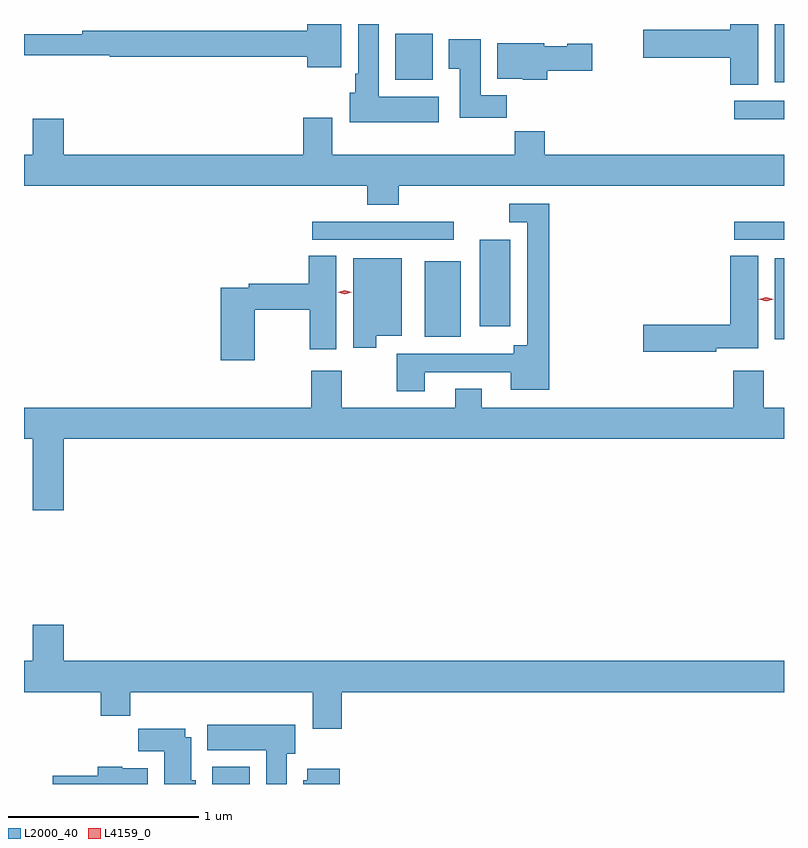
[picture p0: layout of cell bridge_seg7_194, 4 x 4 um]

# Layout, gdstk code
import gdstk
lib = gdstk.Library(unit=1e-6, precision=1e-09)
def R(c, l, rs):  # rectangles x0, y0, x1, y1
    for r in rs: c.add(gdstk.rectangle(r[:2], r[2:], *l))
def P(c, l, *ps):  # polygons
    for p in ps: c.add(gdstk.Polygon(p, *l))
L2000_40 = (2000, 40)
L4159_0 = (4159, 0)

bridge_seg7_194 = lib.new_cell('bridge_seg7_194')
R(bridge_seg7_194, L2000_40, [(393.725,1005.46,393.922,1005.55), (396.686,1007.801,396.734,1008.226), (394.844,1007.813,395.032,1008.211), (395.132,1007.868,395.293,1008.325), (394.251,1008.324,394.996,1008.42), (396.471,1008.324,396.734,1008.42), (396.471,1008.96,396.734,1009.056), (396.686,1009.154,396.734,1009.46), (394.688,1009.166,394.885,1009.408)])
P(bridge_seg7_194, L2000_40, [(396.598,1009.46),(396.452,1009.46),(396.452,1009.43),(395.994,1009.43),(395.994,1009.283),(396.452,1009.283),(396.452,1009.141),(396.598,1009.141)],
  [(394.918,1009.078),(394.6,1009.078),(394.6,1009.46),(394.493,1009.46),(394.493,1009.198),(394.478,1009.198),(394.478,1009.098),(394.448,1009.098),(394.448,1008.944),(394.918,1008.944)],
  [(394.405,1009.46),(394.226,1009.46),(394.226,1009.424),(393.04,1009.424),(393.04,1009.405),(392.734,1009.405),(392.734,1009.296),(393.186,1009.296),(393.186,1009.288),(394.226,1009.288),(394.226,1009.232),(394.405,1009.232)],
  [(395.276,1009.084),(395.137,1009.084),(395.137,1009.381),(394.97,1009.381),(394.97,1009.225),(395.027,1009.225),(395.027,1008.966),(395.276,1008.966)],
  [(395.489,1009.213),(395.725,1009.213),(395.725,1009.355),(395.592,1009.355),(395.592,1009.342),(395.472,1009.342),(395.472,1009.36),(395.225,1009.36),(395.225,1009.172),(395.358,1009.172),(395.358,1009.166),(395.489,1009.166)],
  [(394.706,1008.608),(396.734,1008.608),(396.734,1008.772),(395.474,1008.772),(395.474,1008.896),(395.317,1008.896),(395.317,1008.772),(394.357,1008.772),(394.357,1008.967),(394.205,1008.967),(394.205,1008.772),(392.944,1008.772),(392.944,1008.961),(392.78,1008.961),(392.78,1008.772),(392.734,1008.772),(392.734,1008.608),(394.541,1008.608),(394.541,1008.509),(394.706,1008.509)],
  [(394.843,1007.628),(395.297,1007.628),(395.297,1007.534),(395.498,1007.534),(395.498,1008.513),(395.289,1008.513),(395.289,1008.416),(395.382,1008.416),(395.382,1007.77),(395.312,1007.77),(395.312,1007.724),(394.696,1007.724),(394.696,1007.526),(394.843,1007.526)],
  [(396.378,1007.753),(396.598,1007.753),(396.598,1008.239),(396.452,1008.239),(396.452,1007.876),(395.994,1007.876),(395.994,1007.734),(396.378,1007.734)],
  [(393.948,1007.956),(394.237,1007.956),(394.237,1007.748),(394.378,1007.748),(394.378,1008.239),(394.232,1008.239),(394.232,1008.092),(393.916,1008.092),(393.916,1008.072),(393.77,1008.072),(393.77,1007.691),(393.948,1007.691)],
  [(394.588,1007.819),(394.723,1007.819),(394.723,1008.226),(394.466,1008.226),(394.466,1007.757),(394.588,1007.757)],
  [(392.944,1007.276),(396.734,1007.276),(396.734,1007.44),(396.627,1007.44),(396.627,1007.635),(396.467,1007.635),(396.467,1007.44),(395.143,1007.44),(395.143,1007.539),(395.003,1007.539),(395.003,1007.44),(394.407,1007.44),(394.407,1007.635),(394.247,1007.635),(394.247,1007.44),(392.734,1007.44),(392.734,1007.276),(392.78,1007.276),(392.78,1006.902),(392.944,1006.902)],
  [(393.137,1005.82),(393.293,1005.82),(393.293,1005.944),(394.253,1005.944),(394.253,1005.75),(394.406,1005.75),(394.406,1005.944),(396.734,1005.944),(396.734,1006.108),(392.944,1006.108),(392.944,1006.297),(392.78,1006.297),(392.78,1006.108),(392.734,1006.108),(392.734,1005.944),(393.137,1005.944)],
  [(394.117,1005.618),(394.162,1005.618),(394.162,1005.772),(393.698,1005.772),(393.698,1005.638),(394.01,1005.638),(394.01,1005.46),(394.117,1005.46)],
  [(393.637,1005.48),(393.613,1005.48),(393.613,1005.706),(393.583,1005.706),(393.583,1005.751),(393.334,1005.751),(393.334,1005.632),(393.473,1005.632),(393.473,1005.46),(393.637,1005.46)],
  [(393.385,1005.544),(393.252,1005.544),(393.252,1005.55),(393.122,1005.55),(393.122,1005.504),(392.886,1005.504),(392.886,1005.46),(393.385,1005.46)],
  [(394.397,1005.541),(394.226,1005.541),(394.226,1005.48),(394.205,1005.48),(394.205,1005.46),(394.397,1005.46)])
P(bridge_seg7_194, L4159_0, [(396.64,1008.002),(396.602,1008.012),(396.602,1008.012),(396.602,1008.012),(396.64,1008.022),(396.679,1008.012),(396.679,1008.012),(396.679,1008.011)],
  [(394.421,1008.038),(394.384,1008.048),(394.384,1008.048),(394.384,1008.048),(394.421,1008.058),(394.459,1008.048),(394.459,1008.048),(394.459,1008.048)])

lib.write_gds('bridge_seg7_194.gds')
